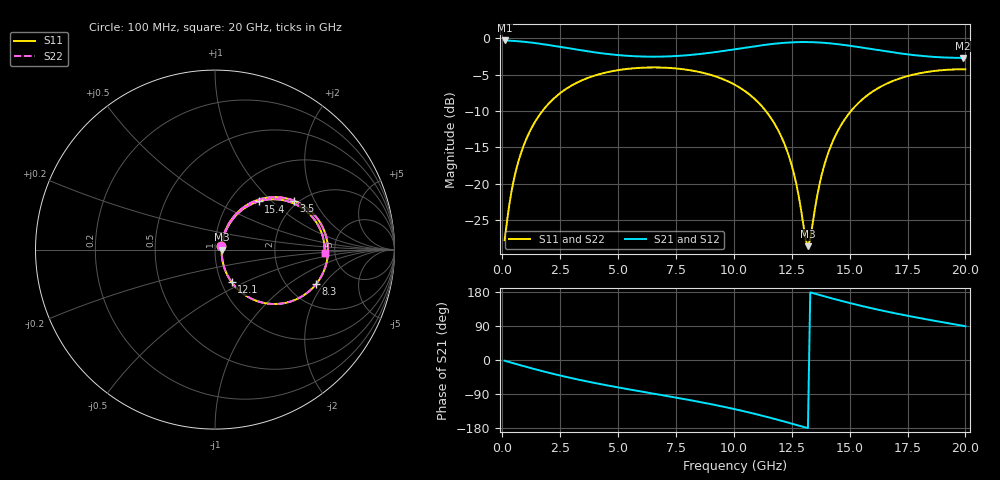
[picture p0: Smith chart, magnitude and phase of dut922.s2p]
! Touchstone file exported from HFSS 2026.1.0
!  File:  C:/ffzhzh/LocalFiles/Ansys_Project_Files/temp_train_TSV_RDL_922_1783279298_39728.aedt
!  Generated:  03:31:52 AM Jul  6, 2026
!  Design:  TSV_RDL
!  Project:  temp_train_TSV_RDL_922_1783279298_39728
! Variables:
!  h_bsmrdl = 5.79um
!  h_ox = 20um
!  h_rdl = 5um
!  h_sub = 57.13um
!  h_tmrdl = 3.09um
!  h_tsv = 57.13um
!  h_via = 3um
!  l_bsmrdl = 379.7um
!  l_sub = 4838.81um
!  l_tmrdl = 805.51um
!  m_sub = 200um
!  pitch = 41.1um
!  r_tsv = 2.83um
!  s_tmrdl = 10um
!  w_bsmrdl = 10.57um
!  w_sub = 500um
!  w_tmrdl = 15.32um
!  x_tsv_center1 = 813.17um
!  x_tsv_center2 = 1203.44um
!  x_tsv_center3 = 2024.27um
!  x_tsv_center4 = 2414.54um
!  x_tsv_center5 = 3235.37um
!  x_tsv_center6 = 3625.64um
# GHz S MA R 50.000000
! Terminal data exported
! Port[1] = TM_RDL1_1_T1
! Port[2] = TM_RDL5_1_T1
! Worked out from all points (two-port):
!   200 points, 100 MHz to 20 GHz, reference 50 ohm
!   highest |S21| = -0.32 dB at 100 MHz (marker M1); lowest = -2.7 dB at 19.9 GHz (marker M2)
!   |S21| within 3 dB of the highest: start of sweep to end of sweep
!   lowest |S11| = -28.6 dB at 13.2 GHz (marker M3), VSWR 1.08, Z = 53.9 - j0.0881 ohm
!   |S11| at or under -10 dB: start of sweep to 1.734 GHz; 11.38 GHz to 15.06 GHz (3.681 GHz wide, 27.8 % of centre)
!   |S22| runs from -28.6 to -4.0 dB; largest |S21 - S12| = 1.7e-14
!   S11 on the Smith chart (normalised r, x): 100 MHz: 1.07, +0.04; 3.5 GHz: 1.89, +1.41; 8.3 GHz: 2.83, -1.69; 12.1 GHz: 1.12, -0.42; 15.4 GHz: 1.35, +0.83; 20 GHz: 4.12, -0.27
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0.1  0.04107 28.5  0.9643 -1.8  0.9643 -1.8  0.04107 28.5
! Gamma 0 0 0 0
! Port Impedance 50 0 50 0
0.5  0.1071 60.4  0.9572 -8.9  0.9572 -8.9  0.1071 60.4
1.2  0.2308 59.4  0.9347 -20.8  0.9347 -20.8  0.2308 59.4
2.2  0.3819 47.7  0.8867 -36.6  0.8867 -36.6  0.3819 47.7
3.5  0.5184 31.7  0.82 -54.6  0.82 -54.6  0.5184 31.7
5.1  0.6064 13.9  0.7629 -73.4  0.7629 -73.4  0.6064 13.9
6.8  0.6288 -3.4  0.7467 -91.7  0.7467 -91.7  0.6288 -3.4
8.3  0.595 -18.9  0.7714 -108.1  0.7714 -108.1  0.595 -18.9
10.1  0.4732 -39.5  0.8417 -130.5  0.8417 -130.5  0.4732 -39.5
11.3  0.3281 -54.5  0.8978 -148.1  0.8978 -148.1  0.3281 -54.5
12.1  0.2024 -62.9  0.9269 -161.1  0.9269 -161.1  0.2024 -63.0
12.6  0.1165 -63.1  0.9374 -169.5  0.9374 -169.5  0.1165 -63.2
13.2  0.03733 -1.3  0.9401 -179.9  0.9401 -179.9  0.03712 -1.3
13.4  0.05277 40.0  0.9384 176.7  0.9384 176.7  0.0526 40.1
13.7  0.09939 58.0  0.9335 171.6  0.9335 171.6  0.09929 58.1
14.1  0.167 60.6  0.9231 164.9  0.9231 164.9  0.1669 60.7
14.7  0.2635 56.0  0.9006 155.1  0.9006 155.1  0.2634 56.0
15.4  0.3614 47.9  0.868 144.4  0.868 144.4  0.3613 47.9
16.7  0.4952 32.4  0.8057 126.5  0.8057 126.5  0.4951 32.4
18.3  0.5847 15.0  0.7508 107.5  0.7508 107.5  0.5847 15.0
19.9  0.6109 -1.0  0.7326 90.2  0.7326 90.2  0.6109 -1.0
20  0.6108 -1.9  0.7327 89.1  0.7327 89.1  0.6107 -1.9
